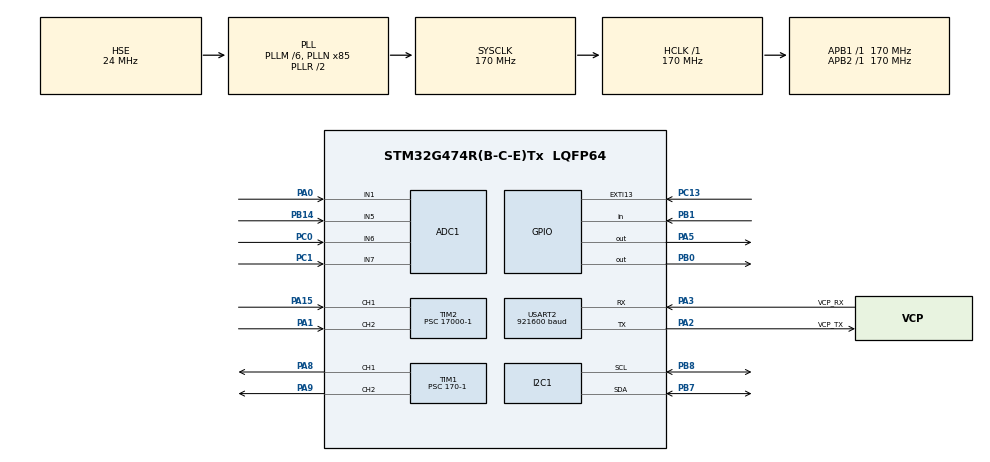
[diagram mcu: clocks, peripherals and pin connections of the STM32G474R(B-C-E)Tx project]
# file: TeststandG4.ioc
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ADC1.Channel-0\#ChannelRegularConversion=ADC_CHANNEL_1
ADC1.Channel-1\#ChannelRegularConversion=ADC_CHANNEL_5
ADC1.Channel-2\#ChannelRegularConversion=ADC_CHANNEL_6
ADC1.Channel-3\#ChannelRegularConversion=ADC_CHANNEL_7
ADC1.Channel-4\#ChannelRegularConversion=ADC_CHANNEL_VREFINT
ADC1.ClockPrescaler=ADC_CLOCK_ASYNC_DIV4
ADC1.ContinuousConvMode=ENABLE
ADC1.DMAContinuousRequests=ENABLE
ADC1.NbrOfConversion=5
ADC1.NbrOfConversionFlag=1
ADC1.OffsetNumber-0\#ChannelRegularConversion=ADC_OFFSET_NONE
ADC1.OffsetNumber-1\#ChannelRegularConversion=ADC_OFFSET_NONE
ADC1.OffsetNumber-2\#ChannelRegularConversion=ADC_OFFSET_NONE
ADC1.OffsetNumber-3\#ChannelRegularConversion=ADC_OFFSET_NONE
ADC1.OffsetNumber-4\#ChannelRegularConversion=ADC_OFFSET_NONE
ADC1.Rank-0\#ChannelRegularConversion=1
ADC1.Rank-1\#ChannelRegularConversion=2
ADC1.Rank-2\#ChannelRegularConversion=3
ADC1.Rank-3\#ChannelRegularConversion=4
ADC1.Rank-4\#ChannelRegularConversion=5
ADC1.SamplingTime-0\#ChannelRegularConversion=ADC_SAMPLETIME_92CYCLES_5
ADC1.SamplingTime-1\#ChannelRegularConversion=ADC_SAMPLETIME_92CYCLES_5
ADC1.SamplingTime-2\#ChannelRegularConversion=ADC_SAMPLETIME_92CYCLES_5
ADC1.SamplingTime-3\#ChannelRegularConversion=ADC_SAMPLETIME_92CYCLES_5
ADC1.SamplingTime-4\#ChannelRegularConversion=ADC_SAMPLETIME_92CYCLES_5
ADC1.master=1
Dma.ADC1.0.Direction=DMA_PERIPH_TO_MEMORY
Dma.ADC1.0.EventEnable=DISABLE
Dma.ADC1.0.Instance=DMA1_Channel1
Dma.ADC1.0.MemDataAlignment=DMA_MDATAALIGN_HALFWORD
Dma.ADC1.0.MemInc=DMA_MINC_ENABLE
Dma.ADC1.0.Mode=DMA_CIRCULAR
Dma.ADC1.0.PeriphDataAlignment=DMA_PDATAALIGN_HALFWORD
Dma.ADC1.0.PeriphInc=DMA_PINC_DISABLE
Dma.ADC1.0.Polarity=HAL_DMAMUX_REQ_GEN_RISING
Dma.ADC1.0.Priority=DMA_PRIORITY_LOW
Dma.ADC1.0.RequestNumber=1
Dma.ADC1.0.SignalID=NONE
Dma.ADC1.0.SyncEnable=DISABLE
Dma.ADC1.0.SyncPolarity=HAL_DMAMUX_SYNC_NO_EVENT
Dma.ADC1.0.SyncRequestNumber=1
Dma.ADC1.0.SyncSignalID=NONE
Dma.Request0=ADC1
Dma.Request1=USART2_TX
Dma.Request2=USART2_RX
Dma.USART2_RX.2.Direction=DMA_PERIPH_TO_MEMORY
Dma.USART2_RX.2.EventEnable=DISABLE
Dma.USART2_RX.2.Instance=DMA1_Channel3
Dma.USART2_RX.2.MemDataAlignment=DMA_MDATAALIGN_BYTE
Dma.USART2_RX.2.MemInc=DMA_MINC_ENABLE
Dma.USART2_RX.2.Mode=DMA_CIRCULAR
Dma.USART2_RX.2.PeriphDataAlignment=DMA_PDATAALIGN_BYTE
Dma.USART2_RX.2.PeriphInc=DMA_PINC_DISABLE
Dma.USART2_RX.2.Polarity=HAL_DMAMUX_REQ_GEN_RISING
Dma.USART2_RX.2.Priority=DMA_PRIORITY_LOW
Dma.USART2_RX.2.RequestNumber=1
Dma.USART2_RX.2.SignalID=NONE
Dma.USART2_RX.2.SyncEnable=DISABLE
Dma.USART2_RX.2.SyncPolarity=HAL_DMAMUX_SYNC_NO_EVENT
Dma.USART2_RX.2.SyncRequestNumber=1
Dma.USART2_RX.2.SyncSignalID=NONE
Dma.USART2_TX.1.Direction=DMA_MEMORY_TO_PERIPH
Dma.USART2_TX.1.EventEnable=DISABLE
Dma.USART2_TX.1.Instance=DMA1_Channel2
Dma.USART2_TX.1.MemDataAlignment=DMA_MDATAALIGN_BYTE
Dma.USART2_TX.1.MemInc=DMA_MINC_ENABLE
Dma.USART2_TX.1.Mode=DMA_NORMAL
Dma.USART2_TX.1.PeriphDataAlignment=DMA_PDATAALIGN_BYTE
Dma.USART2_TX.1.PeriphInc=DMA_PINC_DISABLE
Dma.USART2_TX.1.Polarity=HAL_DMAMUX_REQ_GEN_RISING
Dma.USART2_TX.1.Priority=DMA_PRIORITY_LOW
Dma.USART2_TX.1.RequestNumber=1
Dma.USART2_TX.1.SignalID=NONE
Dma.USART2_TX.1.SyncEnable=DISABLE
Dma.USART2_TX.1.SyncPolarity=HAL_DMAMUX_SYNC_NO_EVENT
Dma.USART2_TX.1.SyncRequestNumber=1
Dma.USART2_TX.1.SyncSignalID=NONE
I2C1.Timing=0x40B285C2
Mcu.Family=STM32G4
Mcu.Name=STM32G474R(B-C-E)Tx
Mcu.Package=LQFP64
NUCLEO-G474RE.BUTTON=1
NUCLEO-G474RE.Bsp_Common_DEMO=true
NUCLEO-G474RE.LD2=true
NUCLEO-G474RE.VCP=false
NVIC.DMA1_Channel1_IRQn=true\:0\:0\:false\:false\:true\:false\:true\:true
NVIC.DMA1_Channel2_IRQn=true\:0\:0\:false\:false\:true\:false\:true\:true
NVIC.DMA1_Channel3_IRQn=true\:0\:0\:false\:false\:true\:false\:true\:true
NVIC.EXTI15_10_IRQn=true\:0\:0\:false\:false\:true\:true\:true\:true
NVIC.PriorityGroup=NVIC_PRIORITYGROUP_4
NVIC.TIM2_IRQn=true\:0\:0\:false\:false\:true\:true\:true\:true
NVIC.USART2_IRQn=true\:0\:0\:false\:false\:true\:true\:true\:true
PA0.Mode=IN1-Single-Ended
PA0.Signal=ADC1_IN1
PA1.Signal=S_TIM2_CH2
PA13.GPIO_Label=T_SWDIO
PA13.Signal=SYS_JTMS-SWDIO
PA14.GPIO_Label=T_SWCLK
PA14.Signal=SYS_JTCK-SWCLK
PA15.Signal=S_TIM2_CH1
PA2.GPIO_Label=VCP_TX
PA2.Mode=Asynchronous
PA2.Signal=USART2_TX
PA3.GPIO_Label=VCP_RX
PA3.Mode=Asynchronous
PA3.Signal=USART2_RX
PA5.Signal=GPIO_Output
PA8.Signal=S_TIM1_CH1
PA9.Signal=S_TIM1_CH2
PB0.Signal=GPIO_Output
PB1.Signal=GPIO_Input
PB14.Mode=IN5-Single-Ended
PB14.Signal=ADC1_IN5
PB3.GPIO_Label=T_SWO
PB3.Signal=SYS_JTDO-SWO
PB7.Mode=I2C
PB7.Signal=I2C1_SDA
PB8-BOOT0.Mode=I2C
PB8-BOOT0.Signal=I2C1_SCL
PC0.Mode=IN6-Single-Ended
PC0.Signal=ADC1_IN6
PC1.Mode=IN7-Single-Ended
PC1.Signal=ADC1_IN7
PC13.Signal=GPXTI13
PC14-OSC32_IN.GPIO_Label=RCC_OSC32_IN
PC14-OSC32_IN.Mode=LSE-External-Oscillator
PC14-OSC32_IN.Signal=RCC_OSC32_IN
PC15-OSC32_OUT.GPIO_Label=RCC_OSC32_OUT
PC15-OSC32_OUT.Mode=LSE-External-Oscillator
PC15-OSC32_OUT.Signal=RCC_OSC32_OUT
PF0-OSC_IN.GPIO_Label=RCC_OSC_IN
PF0-OSC_IN.Mode=HSE-External-Oscillator
PF0-OSC_IN.Signal=RCC_OSC_IN
PF1-OSC_OUT.GPIO_Label=RCC_OSC_OUT
PF1-OSC_OUT.Mode=HSE-External-Oscillator
PF1-OSC_OUT.Signal=RCC_OSC_OUT
ProjectManager.HeapSize=0x200
ProjectManager.StackSize=0x400
ProjectManager.TargetToolchain=CMake
RCC.ADC12Freq_Value=170000000
RCC.ADC345Freq_Value=170000000
RCC.AHBFreq_Value=170000000
RCC.APB1Freq_Value=170000000
RCC.APB1TimFreq_Value=170000000
RCC.APB2Freq_Value=170000000
RCC.APB2TimFreq_Value=170000000
RCC.CortexFreq_Value=170000000
RCC.EXTERNAL_CLOCK_VALUE=12288000
RCC.HCLKFreq_Value=170000000
RCC.HSE_VALUE=24000000
RCC.HSI48_VALUE=48000000
RCC.HSI_VALUE=16000000
RCC.PLLM=RCC_PLLM_DIV6
RCC.PLLN=85
RCC.PLLSourceVirtual=RCC_PLLSOURCE_HSE
RCC.RTCClockSelection=RCC_RTCCLKSOURCE_LSE
RCC.SYSCLKFreq_VALUE=170000000
RCC.SYSCLKSource=RCC_SYSCLKSOURCE_PLLCLK
RCC.USBFreq_Value=170000000
RCC.VCOOutputFreq_Value=340000000
SH.S_TIM1_CH1.0=TIM1_CH1,PWM Generation1 CH1
SH.S_TIM1_CH2.0=TIM1_CH2,PWM Generation2 CH2
SH.S_TIM2_CH1.0=TIM2_CH1,Input_Capture1_from_TI1
SH.S_TIM2_CH2.0=TIM2_CH2,Input_Capture2_from_TI2
TIM1.Channel-PWM\ Generation1\ CH1=TIM_CHANNEL_1
TIM1.Channel-PWM\ Generation2\ CH2=TIM_CHANNEL_2
TIM1.PeriodNoDither=20000-1
TIM1.Prescaler=170-1
TIM1.PulseNoDither_1=1050
TIM1.PulseNoDither_2=1050
TIM2.Channel-Input_Capture1_from_TI1=TIM_CHANNEL_1
TIM2.Channel-Input_Capture2_from_TI2=TIM_CHANNEL_2
TIM2.Prescaler=17000-1
USART2.BaudRate=921600
USART2.VirtualMode-Asynchronous=VM_ASYNC
VP_ADC1_Vref_Input.Mode=IN-Vrefint
VP_NUCLEO-G474RE_VS_BSP_COMMON.Mode=COMMON
VP_SYS_VS_DBSignals.Mode=DisableDeadBatterySignals
VP_TIM1_VS_ClockSourceINT.Mode=Internal
VP_TIM2_VS_ClockSourceINT.Mode=Internal
board=NUCLEO-G474RE

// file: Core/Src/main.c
/* USER CODE BEGIN Header */
/**
  ******************************************************************************
  * @file           : main.c
  * @brief          : Main program body
  ******************************************************************************
  * @attention
  *
  * Copyright (c) 2025 STMicroelectronics.
  * All rights reserved.
  *
  * This software is licensed under terms that can be found in the LICENSE file
  * in the root directory of this software component.
  * If no LICENSE file comes with this software, it is provided AS-IS.
  *
  ******************************************************************************
  */
/* USER CODE END Header */
#include "main.h"

/* USER CODE BEGIN Includes */
#include "comm.h"
#include "protocol.h"
#include "hx711.h"
/* USER CODE END Includes */

/* USER CODE BEGIN PD */
#define TIMCLK 48000000
#define PRESCALER 4800
/* USER CODE END PD */

__IO uint32_t BspButtonState = BUTTON_RELEASED;
ADC_HandleTypeDef hadc1;
DMA_HandleTypeDef hdma_adc1;

I2C_HandleTypeDef hi2c1;

TIM_HandleTypeDef htim1;
TIM_HandleTypeDef htim2;

UART_HandleTypeDef huart2;
DMA_HandleTypeDef hdma_usart2_tx;
DMA_HandleTypeDef hdma_usart2_rx;

/* USER CODE BEGIN PV */
uint32_t IC_Val1Mot1 = 0;
uint32_t IC_Val2Mot1 = 0;
//uint32_t IC_Val1Mot2 = 0;
//uint32_t IC_Val2Mot2 = 0;
uint32_t DiffMot1 = 0;
//uint32_t DiffMot2 = 0;
int first_cap_flagMot1 = 0;
//int first_cap_flagMot2 = 0;
float freqMot1 = 0;
//float freqMot2 = 0;

// --- Hall current sensors ---
#define I1_SENS_mV_PER_A   24u   // 24 mV/A
#define I2_SENS_mV_PER_A   24u

static volatile int32_t  g_i1_mA = 0;
static volatile int32_t  g_i2_mA = 0;

static volatile uint32_t g_i1_zero_mV = 1650, g_i2_zero_mV = 1650;  // used if I_USE_VDD_HALF_AS_ZERO==0

static volatile uint32_t g_stream_period_ms = 0;
static uint32_t          g_next_stream_ms   = 0;
static uint8_t           g_stream_dest_id   = 0x0A; // default = PC

// --- ADC DMA buffer order with Scan FORWARD: [PA0, PA1, PA3, PA4, VREFINT] ---
enum { ADC_IDX_I1=0, ADC_IDX_I2=1, ADC_IDX_V1=2, ADC_IDX_V2=3, ADC_IDX_VREF=4, ADC_COUNT=5 };
__attribute__((aligned(4))) static volatile uint16_t g_adc[ADC_COUNT];
static uint8_t g_adc_ok = 0;

// Results (millivolts)
static volatile uint32_t g_vin1_mV = 0;
static volatile uint32_t g_vin2_mV = 0;

/* USER CODE END PV */

void SystemClock_Config(void);
static void MX_GPIO_Init(void);
static void MX_DMA_Init(void);
static void MX_ADC1_Init(void);
static void MX_I2C1_Init(void);
static void MX_TIM1_Init(void);
static void MX_TIM2_Init(void);
static void MX_USART2_UART_Init(void);

/* USER CODE BEGIN 0 */

static uint32_t millis(void){ return HAL_GetTick(); }

extern TIM_HandleTypeDef htim1;

static uint16_t g_esc1_us = 1050;
static uint16_t g_esc2_us = 1050;

// HX711 last valid sample
static int32_t  g_last_raw = 0;
static uint8_t  g_last_raw_valid = 0;

static volatile uint16_t ic_last = 0;
static volatile uint32_t ic_period_us = 0;   // last measured period in microseconds
static volatile uint32_t ic_irq_count = 0;
static volatile uint8_t  ic_has_lock = 0;    // 1 once we got a valid period

static inline void esc_apply_hw(void)
{
  __HAL_TIM_SET_COMPARE(&htim1, TIM_CHANNEL_1, g_esc1_us);
  __HAL_TIM_SET_COMPARE(&htim1, TIM_CHANNEL_2, g_esc2_us);
}

static void esc_init(void)
{
  // start PWM outputs
  HAL_TIM_PWM_Start(&htim1, TIM_CHANNEL_1);
  HAL_TIM_PWM_Start(&htim1, TIM_CHANNEL_2);
  esc_apply_hw();
}

static void esc_set_us(uint32_t ch, uint32_t us)
{
  if (us < 1050) us = 1050;
  if (us > 1940) us = 1940;
  if (ch == 1) g_esc1_us = (uint16_t)us;
  else         g_esc2_us = (uint16_t)us;
  esc_apply_hw();
}

// Factory VREFINT calibration (STM32F0): 3.3V at 30°C
#define R_HIGH1 180000u  // PA3 divider high resistor (ohms)
#define R_LOW1   10000u  // PA3 divider low resistor (ohms)
#define R_HIGH2 180000u  // PA4
#define R_LOW2   10000u

#ifndef VREFINT_CAL_ADDR
#define VREFINT_CAL_ADDR  ((uint16_t*)0x1FFFF7BA)  // STM32F0 ref manual
#endif
#define ADC_FULL_SCALE 4095u

static inline void adc_try_start(void)
{
    HAL_ADC_Stop_DMA(&hadc1);  // in case something was half-started
    if (HAL_ADCEx_Calibration_Start(&hadc1, ADC_SINGLE_ENDED) != HAL_OK) { g_adc_ok = 0; return; }
    if (HAL_ADC_Start_DMA(&hadc1, (uint32_t*)g_adc, ADC_COUNT) != HAL_OK)   { g_adc_ok = 0; return; }
    __HAL_DMA_DISABLE_IT(hadc1.DMA_Handle, DMA_IT_HT | DMA_IT_TC | DMA_IT_TE);
    g_adc_ok = 1;
}

static inline void adc_compute_mv(void)
{
    if (!g_adc_ok) return;

    // Fixed order: [0]=PA0, [1]=PA1, [2]=PA3, [3]=PA4, [4]=VREFINT
    uint16_t raw_i1  = g_adc[ADC_IDX_I1];
    uint16_t raw_i2  = g_adc[ADC_IDX_I2];
    uint16_t raw_v1  = g_adc[ADC_IDX_V1];
    uint16_t raw_v2  = g_adc[ADC_IDX_V2];
    uint16_t raw_ref = g_adc[ADC_IDX_VREF];
    if (raw_ref == 0) return;  // avoid div/0 while VREFINT wakes up

    // --- VDD from factory calibration (same approach you already use) ---
    uint32_t vref_cal = *VREFINT_CAL_ADDR;           // ~1500 @ 3.3V
    if (vref_cal < 1000 || vref_cal > 3000) vref_cal = 1500;
    uint32_t vdd_mV = (3300u * vref_cal) / raw_ref;

    // --- Node voltages (mV) at each ADC pin (64-bit to avoid overflow later) ---
    uint32_t node_i1_mV = (uint32_t)(((uint64_t)raw_i1 * vdd_mV + 2047) / 4095u);
    uint32_t node_i2_mV = (uint32_t)(((uint64_t)raw_i2 * vdd_mV + 2047) / 4095u);
    uint32_t node_v1_mV = (uint32_t)(((uint64_t)raw_v1 * vdd_mV + 2047) / 4095u);
    uint32_t node_v2_mV = (uint32_t)(((uint64_t)raw_v2 * vdd_mV + 2047) / 4095u);

    // --- External voltages through dividers (19:1) ---
    const uint32_t k1 = (R_HIGH1 + R_LOW1), k2 = (R_HIGH2 + R_LOW2);
    g_vin1_mV = (uint32_t)(((uint64_t)node_v1_mV * k1 + R_LOW1/2) / R_LOW1);
    g_vin2_mV = (uint32_t)(((uint64_t)node_v2_mV * k2 + R_LOW2/2) / R_LOW2);

    //Current Calculation
    int32_t dv1_mV = (int32_t)node_i1_mV - (int32_t)g_i1_zero_mV;
    int32_t dv2_mV = (int32_t)node_i2_mV - (int32_t)g_i1_zero_mV;

    // I(mA) = (dv_mV * 1000) / (mV per A)
    g_i1_mA = (int32_t)(((int64_t)dv1_mV * 1000) / I1_SENS_mV_PER_A);
    g_i2_mA = (int32_t)(((int64_t)dv2_mV * 1000) / I2_SENS_mV_PER_A);
}

void comm_on_frame(const comm_frame_t *f)
{
	// Handle Ping
    if (f->msg_type == MT_PING) {
        uint64_t host_ms64 = 0;
        (void)tlv_find_u64(f->payload, f->payload_len, TLV_TS_HOST_MS, &host_ms64);

        uint8_t buf[24]; uint8_t *w = buf;
        w = tlv_put_u64(w, TLV_TS_HOST_MS, host_ms64);   // echo host 64-bit time
        w = tlv_put_u32(w, TLV_TS_MS, HAL_GetTick());    // device uptime (u32)

        comm_send(f->tx_id, f->rx_id, MT_PING, 0x01, 0, buf, (uint16_t)(w - buf));
        return;
    }
    // Handle Command
    if (f->msg_type == MT_COMMAND) {
            // Parse the command code (u32)
            uint32_t cmd = 0xFFFFFFFFu;
            (void)tlv_find_u32(f->payload, f->payload_len, TLV_CMD_CODE, &cmd);

            uint32_t result = 0; // OK by default

			if (cmd == CMD_ECHO) {
				// nothing else to do
			}
			else if (cmd == CMD_SNAPSHOT) {
				// Build one telemetry frame (MT_TEL_A) with a timestamp TLV for now
				uint8_t t[16]; uint8_t *tw = t;

				// Read HX711 (timeout e.g. 50ms; pick 10SPS or 80SPS rate on your module pin)
				int32_t raw = 0;
				int ok = hx711_read_raw(&raw, 50);

				tw = tlv_put_u32(tw, TLV_TS_MS, HAL_GetTick());

				if (ok) {
					// reuse u32 helper but cast the bytes of raw (two's complement)
					tw = tlv_put_i32(tw, TLV_LOAD_RAW, raw);  // if you don’t have tlv_put_i32 yet, I can add it; else use tlv_put_u32 on (uint32_t)raw
				}
				// Send telemetry to the command sender
				comm_send(f->tx_id, f->rx_id, MT_TEL_A, 0x01, /*reqid=*/0, t, (uint16_t)(tw - t));
			}
			else if (cmd == CMD_STREAM) {
			    uint32_t per = 0;
			    (void)tlv_find_u32(f->payload, f->payload_len, TLV_STREAM_PERIOD_MS, &per);

			    g_stream_period_ms = per;
			    g_next_stream_ms   = HAL_GetTick() + 1;
			    g_stream_dest_id   = f->tx_id;          // send to whoever asked

			    // result = OK (0)
			}
			else if (cmd == CMD_SET_ESC) {
			    uint32_t ch = 0, us = 0;
			    (void)tlv_find_u32(f->payload, f->payload_len, TLV_ESC_CH, &ch);
			    (void)tlv_find_u32(f->payload, f->payload_len, TLV_ESC_US, &us);

			    uint32_t result = 0; // OK
			    if ((ch != 1u) && (ch != 2u)) {
			        result = 2; // invalid channel
			    } else if (us < 800 || us > 2200) { // loose input guard; hard clamp to 1050..1940
			        result = 1; // out of plausible range
			    } else {
			        esc_set_us(ch, us); // clamps internally to 1050..1940
			    }

			    uint8_t ack[24]; uint8_t *aw = ack;
			    aw = tlv_put_u32(aw, TLV_CMD_CODE,   cmd);
			    aw = tlv_put_u32(aw, TLV_CMD_RESULT, result);
			    aw = tlv_put_u32(aw, TLV_ESC_CH,     ch);
			    aw = tlv_put_u32(aw, TLV_ESC_US,     us);
			    comm_send(f->tx_id, f->rx_id, MT_COMMAND_ACK, 0x01, f->reqid, ack, (uint16_t)(aw - ack));
			    return;
			}

			else {
				result = 3; // BAD/unknown command
			}

			// Always send an ACK for MT_COMMAND, echoing the CMD_CODE
			uint8_t ack[16]; uint8_t *aw = ack;
			aw = tlv_put_u32(aw, TLV_CMD_CODE,   cmd);
			aw = tlv_put_u32(aw, TLV_CMD_RESULT, result);
			comm_send(f->tx_id, f->rx_id, MT_COMMAND_ACK, 0x01, f->reqid, ack, (uint16_t)(aw - ack));
			return;

        }
    // ...
}

static void telemetry_service(void)
{
    if (g_stream_period_ms == 0) return;

    uint32_t now = HAL_GetTick();
    // not time yet?
    if ((int32_t)(now - g_next_stream_ms) < 0) return;
    g_next_stream_ms = now + g_stream_period_ms;

    extern int hx711_dout_level(void);

    // read HX711 if ready (non-blocking)
    int32_t raw = 0; int ok = 0;
    if (hx711_dout_level() == 0) {        // data ready low
        ok = hx711_read_raw(&raw, 0);     // no wait
        if (ok) { g_last_raw = raw; g_last_raw_valid = 1; }
    }

    uint8_t t[96]; uint8_t *tw = t;
    tw = tlv_put_u32(tw, TLV_TS_MS, now);
    tw = tlv_put_u32(tw, TLV_ESC1_US, g_esc1_us);
    tw = tlv_put_u32(tw, TLV_ESC2_US, g_esc2_us);
    tw = tlv_put_u32(tw, TLV_IC_IRQS,      ic_irq_count);
    tw = tlv_put_u32(tw, TLV_IC_PERIOD_US, ic_period_us);
    if (g_last_raw_valid) tw = tlv_put_i32(tw, TLV_LOAD_RAW, g_last_raw);

    // RPM from capture
    if (ic_has_lock && ic_period_us) {
        const uint32_t P = 14; // rotor magnets (try 7 if you discover they mean pole pairs)
        uint32_t hz  = 1000000u / ic_period_us;
        uint32_t rpm = (hz * 60u) / (P);
        tw = tlv_put_u32(tw, TLV_ESC_RPM1, rpm);
    }

    // new voltage TLVs (always include)
    adc_compute_mv();
    tw = tlv_put_u32(tw, TLV_VIN1_MV, g_vin1_mV);
    tw = tlv_put_u32(tw, TLV_VIN2_MV, g_vin2_mV);

    tw = tlv_put_u32(tw, 0x90, g_adc[0]); // RAW_PA3
    tw = tlv_put_u32(tw, 0x91, g_adc[1]); // RAW_PA4
    tw = tlv_put_u32(tw, 0x92, g_adc[2]); // RAW_VREFINT

    tw = tlv_put_i32(tw, TLV_I1_MA, g_i1_mA);
    tw = tlv_put_i32(tw, TLV_I2_MA, g_i2_mA);

    // send telemetry to whoever requested streaming
    extern int comm_send(uint8_t rx_id, uint8_t tx_id, uint8_t msg_type,
                         uint8_t flags, uint8_t reqid, const uint8_t *payload, uint16_t payload_len);

    comm_send(g_stream_dest_id, 0x20/*MCU id*/, MT_TEL_A, 0x01, 0, t, (uint16_t)(tw - t));
}

void HAL_TIM_IC_CaptureCallback(TIM_HandleTypeDef *htim)
{
	if(htim->Channel == HAL_TIM_ACTIVE_CHANNEL_1)
	{
		if(first_cap_flagMot1 == 0)
		{
			IC_Val1Mot1 = HAL_TIM_ReadCapturedValue(htim, TIM_CHANNEL_1);
			first_cap_flagMot1 = 1;
		}
		else
		{
			IC_Val2Mot1 = HAL_TIM_ReadCapturedValue(htim, TIM_CHANNEL_1);

			if(IC_Val2Mot1 > IC_Val1Mot1)
			{
				DiffMot1 = IC_Val2Mot1 - IC_Val1Mot1;
			}
			else if(IC_Val1Mot1 > IC_Val2Mot1)
			{
				DiffMot1 = (0xffffffff - IC_Val1Mot1) + IC_Val2Mot1;
			}

			float refClock = TIMCLK/(PRESCALER);
			freqMot1 = refClock/DiffMot1;

			__HAL_TIM_SET_COUNTER(htim,0);
			first_cap_flagMot1 = 0;
		}
	}

	/*
	else if(htim->Channel == HAL_TIM_ACTIVE_CHANNEL_2)
	{
		if(first_cap_flagMot2 == 0)
		{
			IC_Val1Mot2 = HAL_TIM_ReadCapturedValue(htim, TIM_CHANNEL_2);
			first_cap_flagMot2 = 1;
		}
		else
		{
			IC_Val2Mot2 = HAL_TIM_ReadCapturedValue(htim, TIM_CHANNEL_2);

			if(IC_Val2Mot2 > IC_Val1Mot2)
			{
				DiffMot2 = IC_Val2Mot2 - IC_Val1Mot2;
			}
			else if(IC_Val1Mot2 > IC_Val2Mot2)
			{
				DiffMot2 = (0xffffffff - IC_Val1Mot2) + IC_Val2Mot2;
			}

			float refClock = TIMCLK/(PRESCALAR);
			frequencyMot2 = refClock/DiffMot2;

			__HAL_TIM_SET_COUNTER(htim,0);
			first_cap_flagMot2 = 0;
		}
	}
	*/
}

/* USER CODE END 0 */

int main(void)
{

  /* MCU Configuration--------------------------------------------------------*/

  /* Reset of all peripherals, Initializes the Flash interface and the Systick. */
  HAL_Init();

  /* Configure the system clock */
  SystemClock_Config();

  /* Initialize all configured peripherals */
  MX_GPIO_Init();
  MX_DMA_Init();
  MX_ADC1_Init();
  MX_I2C1_Init();
  MX_TIM1_Init();
  MX_TIM2_Init();
  MX_USART2_UART_Init();
  /* USER CODE BEGIN 2 */
  HAL_TIM_IC_Start_IT(&htim2, TIM_CHANNEL_1);
  HAL_TIM_IC_Start_IT(&htim2, TIM_CHANNEL_2);
  esc_init();

  // apply initial µs (will be overwritten by commands)
  __HAL_TIM_SET_COMPARE(&htim1, TIM_CHANNEL_1, 1050);
  __HAL_TIM_SET_COMPARE(&htim1, TIM_CHANNEL_2, 1050);

  adc_try_start();          // non-fatal start (sets g_adc_ok)

  comm_init(&huart2);
  uint32_t last_hello = HAL_GetTick();

  hx711_init();
  /* USER CODE END 2 */

  /* Initialize led */
  BSP_LED_Init(LED_GREEN);

  /* Initialize USER push-button, will be used to trigger an interrupt each time it's pressed.*/
  BSP_PB_Init(BUTTON_USER, BUTTON_MODE_EXTI);

  /* Infinite loop */
  /* USER CODE BEGIN WHILE */
  while (1)
  {
    comm_poll();
	  telemetry_service();
    /* USER CODE END WHILE */

  }
}

void SystemClock_Config(void)
{
  RCC_OscInitTypeDef RCC_OscInitStruct = {0};
  RCC_ClkInitTypeDef RCC_ClkInitStruct = {0};

  /** Configure the main internal regulator output voltage
  */
  HAL_PWREx_ControlVoltageScaling(PWR_REGULATOR_VOLTAGE_SCALE1_BOOST);

  /** Initializes the RCC Oscillators according to the specified parameters
  * in the RCC_OscInitTypeDef structure.
  */
  RCC_OscInitStruct.OscillatorType = RCC_OSCILLATORTYPE_HSE;
  RCC_OscInitStruct.HSEState = RCC_HSE_ON;
  RCC_OscInitStruct.PLL.PLLState = RCC_PLL_ON;
  RCC_OscInitStruct.PLL.PLLSource = RCC_PLLSOURCE_HSE;
  RCC_OscInitStruct.PLL.PLLM = RCC_PLLM_DIV6;
  RCC_OscInitStruct.PLL.PLLN = 85;
  RCC_OscInitStruct.PLL.PLLP = RCC_PLLP_DIV2;
  RCC_OscInitStruct.PLL.PLLQ = RCC_PLLQ_DIV2;
  RCC_OscInitStruct.PLL.PLLR = RCC_PLLR_DIV2;
  if (HAL_RCC_OscConfig(&RCC_OscInitStruct) != HAL_OK)
  {
    Error_Handler();
  }

  /** Initializes the CPU, AHB and APB buses clocks
  */
  RCC_ClkInitStruct.ClockType = RCC_CLOCKTYPE_HCLK|RCC_CLOCKTYPE_SYSCLK
                              |RCC_CLOCKTYPE_PCLK1|RCC_CLOCKTYPE_PCLK2;
  RCC_ClkInitStruct.SYSCLKSource = RCC_SYSCLKSOURCE_PLLCLK;
  RCC_ClkInitStruct.AHBCLKDivider = RCC_SYSCLK_DIV1;
  RCC_ClkInitStruct.APB1CLKDivider = RCC_HCLK_DIV1;
  RCC_ClkInitStruct.APB2CLKDivider = RCC_HCLK_DIV1;

  if (HAL_RCC_ClockConfig(&RCC_ClkInitStruct, FLASH_LATENCY_4) != HAL_OK)
  {
    Error_Handler();
  }
}

static void MX_ADC1_Init(void)
{

  ADC_MultiModeTypeDef multimode = {0};
  ADC_ChannelConfTypeDef sConfig = {0};

  /** Common config
  */
  hadc1.Instance = ADC1;
  hadc1.Init.ClockPrescaler = ADC_CLOCK_ASYNC_DIV4;
  hadc1.Init.Resolution = ADC_RESOLUTION_12B;
  hadc1.Init.DataAlign = ADC_DATAALIGN_RIGHT;
  hadc1.Init.GainCompensation = 0;
  hadc1.Init.ScanConvMode = ADC_SCAN_ENABLE;
  hadc1.Init.EOCSelection = ADC_EOC_SINGLE_CONV;
  hadc1.Init.LowPowerAutoWait = DISABLE;
  hadc1.Init.ContinuousConvMode = ENABLE;
  hadc1.Init.NbrOfConversion = 5;
  hadc1.Init.DiscontinuousConvMode = DISABLE;
  hadc1.Init.ExternalTrigConv = ADC_SOFTWARE_START;
  hadc1.Init.ExternalTrigConvEdge = ADC_EXTERNALTRIGCONVEDGE_NONE;
  hadc1.Init.DMAContinuousRequests = ENABLE;
  hadc1.Init.Overrun = ADC_OVR_DATA_PRESERVED;
  hadc1.Init.OversamplingMode = DISABLE;
  if (HAL_ADC_Init(&hadc1) != HAL_OK)
  {
    Error_Handler();
  }

  /** Configure the ADC multi-mode
  */
  multimode.Mode = ADC_MODE_INDEPENDENT;
  if (HAL_ADCEx_MultiModeConfigChannel(&hadc1, &multimode) != HAL_OK)
  {
    Error_Handler();
  }

  /** Configure Regular Channel
  */
  sConfig.Channel = ADC_CHANNEL_1;
  sConfig.Rank = ADC_REGULAR_RANK_1;
  sConfig.SamplingTime = ADC_SAMPLETIME_92CYCLES_5;
  sConfig.SingleDiff = ADC_SINGLE_ENDED;
  sConfig.OffsetNumber = ADC_OFFSET_NONE;
  sConfig.Offset = 0;
  if (HAL_ADC_ConfigChannel(&hadc1, &sConfig) != HAL_OK)
  {
    Error_Handler();
  }

  /** Configure Regular Channel
  */
  sConfig.Channel = ADC_CHANNEL_5;
  sConfig.Rank = ADC_REGULAR_RANK_2;
  if (HAL_ADC_ConfigChannel(&hadc1, &sConfig) != HAL_OK)
  {
    Error_Handler();
  }

  /** Configure Regular Channel
  */
  sConfig.Channel = ADC_CHANNEL_6;
  sConfig.Rank = ADC_REGULAR_RANK_3;
  if (HAL_ADC_ConfigChannel(&hadc1, &sConfig) != HAL_OK)
  {
    Error_Handler();
  }

  /** Configure Regular Channel
  */
  sConfig.Channel = ADC_CHANNEL_7;
  sConfig.Rank = ADC_REGULAR_RANK_4;
  if (HAL_ADC_ConfigChannel(&hadc1, &sConfig) != HAL_OK)
  {
    Error_Handler();
  }

  /** Configure Regular Channel
  */
  sConfig.Channel = ADC_CHANNEL_VREFINT;
  sConfig.Rank = ADC_REGULAR_RANK_5;
  if (HAL_ADC_ConfigChannel(&hadc1, &sConfig) != HAL_OK)
  {
    Error_Handler();
  }

}

static void MX_I2C1_Init(void)
{

  hi2c1.Instance = I2C1;
  hi2c1.Init.Timing = 0x40B285C2;
  hi2c1.Init.OwnAddress1 = 0;
  hi2c1.Init.AddressingMode = I2C_ADDRESSINGMODE_7BIT;
  hi2c1.Init.DualAddressMode = I2C_DUALADDRESS_DISABLE;
  hi2c1.Init.OwnAddress2 = 0;
  hi2c1.Init.OwnAddress2Masks = I2C_OA2_NOMASK;
  hi2c1.Init.GeneralCallMode = I2C_GENERALCALL_DISABLE;
  hi2c1.Init.NoStretchMode = I2C_NOSTRETCH_DISABLE;
  if (HAL_I2C_Init(&hi2c1) != HAL_OK)
  {
    Error_Handler();
  }

  /** Configure Analogue filter
  */
  if (HAL_I2CEx_ConfigAnalogFilter(&hi2c1, I2C_ANALOGFILTER_ENABLE) != HAL_OK)
  {
    Error_Handler();
  }

  /** Configure Digital filter
  */
  if (HAL_I2CEx_ConfigDigitalFilter(&hi2c1, 0) != HAL_OK)
  {
    Error_Handler();
  }

}

static void MX_TIM1_Init(void)
{

  TIM_ClockConfigTypeDef sClockSourceConfig = {0};
  TIM_MasterConfigTypeDef sMasterConfig = {0};
  TIM_OC_InitTypeDef sConfigOC = {0};
  TIM_BreakDeadTimeConfigTypeDef sBreakDeadTimeConfig = {0};

  htim1.Instance = TIM1;
  htim1.Init.Prescaler = 170-1;
  htim1.Init.CounterMode = TIM_COUNTERMODE_UP;
  htim1.Init.Period = 19999;
  htim1.Init.ClockDivision = TIM_CLOCKDIVISION_DIV1;
  htim1.Init.RepetitionCounter = 0;
  htim1.Init.AutoReloadPreload = TIM_AUTORELOAD_PRELOAD_DISABLE;
  if (HAL_TIM_Base_Init(&htim1) != HAL_OK)
  {
    Error_Handler();
  }
  sClockSourceConfig.ClockSource = TIM_CLOCKSOURCE_INTERNAL;
  if (HAL_TIM_ConfigClockSource(&htim1, &sClockSourceConfig) != HAL_OK)
  {
    Error_Handler();
  }
  if (HAL_TIM_PWM_Init(&htim1) != HAL_OK)
  {
    Error_Handler();
  }
  sMasterConfig.MasterOutputTrigger = TIM_TRGO_RESET;
  sMasterConfig.MasterOutputTrigger2 = TIM_TRGO2_RESET;
  sMasterConfig.MasterSlaveMode = TIM_MASTERSLAVEMODE_DISABLE;
  if (HAL_TIMEx_MasterConfigSynchronization(&htim1, &sMasterConfig) != HAL_OK)
  {
    Error_Handler();
  }
  sConfigOC.OCMode = TIM_OCMODE_PWM1;
  sConfigOC.Pulse = 1050;
  sConfigOC.OCPolarity = TIM_OCPOLARITY_HIGH;
  sConfigOC.OCNPolarity = TIM_OCNPOLARITY_HIGH;
  sConfigOC.OCFastMode = TIM_OCFAST_DISABLE;
  sConfigOC.OCIdleState = TIM_OCIDLESTATE_RESET;
  sConfigOC.OCNIdleState = TIM_OCNIDLESTATE_RESET;
  if (HAL_TIM_PWM_ConfigChannel(&htim1, &sConfigOC, TIM_CHANNEL_1) != HAL_OK)
  {
    Error_Handler();
  }
  if (HAL_TIM_PWM_ConfigChannel(&htim1, &sConfigOC, TIM_CHANNEL_2) != HAL_OK)
  {
    Error_Handler();
  }
  sBreakDeadTimeConfig.OffStateRunMode = TIM_OSSR_DISABLE;
  sBreakDeadTimeConfig.OffStateIDLEMode = TIM_OSSI_DISABLE;
  sBreakDeadTimeConfig.LockLevel = TIM_LOCKLEVEL_OFF;
  sBreakDeadTimeConfig.DeadTime = 0;
  sBreakDeadTimeConfig.BreakState = TIM_BREAK_DISABLE;
  sBreakDeadTimeConfig.BreakPolarity = TIM_BREAKPOLARITY_HIGH;
  sBreakDeadTimeConfig.BreakFilter = 0;
  sBreakDeadTimeConfig.BreakAFMode = TIM_BREAK_AFMODE_INPUT;
  sBreakDeadTimeConfig.Break2State = TIM_BREAK2_DISABLE;
  sBreakDeadTimeConfig.Break2Polarity = TIM_BREAK2POLARITY_HIGH;
  sBreakDeadTimeConfig.Break2Filter = 0;
  sBreakDeadTimeConfig.Break2AFMode = TIM_BREAK_AFMODE_INPUT;
  sBreakDeadTimeConfig.AutomaticOutput = TIM_AUTOMATICOUTPUT_DISABLE;
  if (HAL_TIMEx_ConfigBreakDeadTime(&htim1, &sBreakDeadTimeConfig) != HAL_OK)
  {
    Error_Handler();
  }
  HAL_TIM_MspPostInit(&htim1);

}

static void MX_TIM2_Init(void)
{

  TIM_ClockConfigTypeDef sClockSourceConfig = {0};
  TIM_MasterConfigTypeDef sMasterConfig = {0};
  TIM_IC_InitTypeDef sConfigIC = {0};

  htim2.Instance = TIM2;
  htim2.Init.Prescaler = 17000-1;
  htim2.Init.CounterMode = TIM_COUNTERMODE_UP;
  htim2.Init.Period = 4294967295;
  htim2.Init.ClockDivision = TIM_CLOCKDIVISION_DIV1;
  htim2.Init.AutoReloadPreload = TIM_AUTORELOAD_PRELOAD_DISABLE;
  if (HAL_TIM_Base_Init(&htim2) != HAL_OK)
  {
    Error_Handler();
  }
  sClockSourceConfig.ClockSource = TIM_CLOCKSOURCE_INTERNAL;
  if (HAL_TIM_ConfigClockSource(&htim2, &sClockSourceConfig) != HAL_OK)
  {
    Error_Handler();
  }
  if (HAL_TIM_IC_Init(&htim2) != HAL_OK)
  {
    Error_Handler();
  }
  sMasterConfig.MasterOutputTrigger = TIM_TRGO_RESET;
  sMasterConfig.MasterSlaveMode = TIM_MASTERSLAVEMODE_DISABLE;
  if (HAL_TIMEx_MasterConfigSynchronization(&htim2, &sMasterConfig) != HAL_OK)
  {
    Error_Handler();
  }
  sConfigIC.ICPolarity = TIM_INPUTCHANNELPOLARITY_RISING;
  sConfigIC.ICSelection = TIM_ICSELECTION_DIRECTTI;
  sConfigIC.ICPrescaler = TIM_ICPSC_DIV1;
  sConfigIC.ICFilter = 0;
  if (HAL_TIM_IC_ConfigChannel(&htim2, &sConfigIC, TIM_CHANNEL_1) != HAL_OK)
  {
    Error_Handler();
  }
  if (HAL_TIM_IC_ConfigChannel(&htim2, &sConfigIC, TIM_CHANNEL_2) != HAL_OK)
  {
    Error_Handler();
  }

}

static void MX_USART2_UART_Init(void)
{

  huart2.Instance = USART2;
  huart2.Init.BaudRate = 921600;
  huart2.Init.WordLength = UART_WORDLENGTH_8B;
  huart2.Init.StopBits = UART_STOPBITS_1;
  huart2.Init.Parity = UART_PARITY_NONE;
  huart2.Init.Mode = UART_MODE_TX_RX;
  huart2.Init.HwFlowCtl = UART_HWCONTROL_NONE;
  huart2.Init.OverSampling = UART_OVERSAMPLING_16;
  huart2.Init.OneBitSampling = UART_ONE_BIT_SAMPLE_DISABLE;
  huart2.Init.ClockPrescaler = UART_PRESCALER_DIV1;
  huart2.AdvancedInit.AdvFeatureInit = UART_ADVFEATURE_NO_INIT;
  if (HAL_UART_Init(&huart2) != HAL_OK)
  {
    Error_Handler();
  }
  if (HAL_UARTEx_SetTxFifoThreshold(&huart2, UART_TXFIFO_THRESHOLD_1_8) != HAL_OK)
  {
    Error_Handler();
  }
  if (HAL_UARTEx_SetRxFifoThreshold(&huart2, UART_RXFIFO_THRESHOLD_1_8) != HAL_OK)
  {
    Error_Handler();
  }
  if (HAL_UARTEx_DisableFifoMode(&huart2) != HAL_OK)
  {
    Error_Handler();
  }

}

static void MX_DMA_Init(void)
{

  /* DMA controller clock enable */
  __HAL_RCC_DMAMUX1_CLK_ENABLE();
  __HAL_RCC_DMA1_CLK_ENABLE();

  /* DMA interrupt init */
  /* DMA1_Channel1_IRQn interrupt configuration */
  HAL_NVIC_SetPriority(DMA1_Channel1_IRQn, 0, 0);
  HAL_NVIC_EnableIRQ(DMA1_Channel1_IRQn);
  /* DMA1_Channel2_IRQn interrupt configuration */
  HAL_NVIC_SetPriority(DMA1_Channel2_IRQn, 0, 0);
  HAL_NVIC_EnableIRQ(DMA1_Channel2_IRQn);
  /* DMA1_Channel3_IRQn interrupt configuration */
  HAL_NVIC_SetPriority(DMA1_Channel3_IRQn, 0, 0);
  HAL_NVIC_EnableIRQ(DMA1_Channel3_IRQn);

}

static void MX_GPIO_Init(void)
{
  GPIO_InitTypeDef GPIO_InitStruct = {0};

  /* GPIO Ports Clock Enable */
  __HAL_RCC_GPIOC_CLK_ENABLE();
  __HAL_RCC_GPIOF_CLK_ENABLE();
  __HAL_RCC_GPIOA_CLK_ENABLE();
  __HAL_RCC_GPIOB_CLK_ENABLE();

  /*Configure GPIO pin Output Level */
  HAL_GPIO_WritePin(GPIOB, GPIO_PIN_0, GPIO_PIN_RESET);

  /*Configure GPIO pin : PB0 */
  GPIO_InitStruct.Pin = GPIO_PIN_0;
  GPIO_InitStruct.Mode = GPIO_MODE_OUTPUT_PP;
  GPIO_InitStruct.Pull = GPIO_NOPULL;
  GPIO_InitStruct.Speed = GPIO_SPEED_FREQ_LOW;
  HAL_GPIO_Init(GPIOB, &GPIO_InitStruct);

  /*Configure GPIO pin : PB1 */
  GPIO_InitStruct.Pin = GPIO_PIN_1;
  GPIO_InitStruct.Mode = GPIO_MODE_INPUT;
  GPIO_InitStruct.Pull = GPIO_NOPULL;
  HAL_GPIO_Init(GPIOB, &GPIO_InitStruct);

}

/**
  * @brief BSP Push Button callback
  * @param Button Specifies the pressed button
  * @retval None
  */
void BSP_PB_Callback(Button_TypeDef Button)
{
  if (Button == BUTTON_USER)
  {
    BspButtonState = BUTTON_PRESSED;
  }
}

void Error_Handler(void)
{
  __disable_irq();
  while (1)
  {
  }
}
